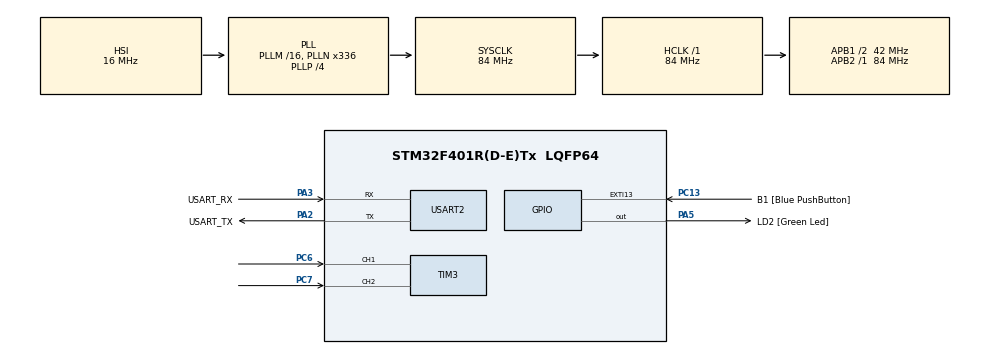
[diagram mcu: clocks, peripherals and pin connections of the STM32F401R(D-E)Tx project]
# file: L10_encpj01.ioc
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Dma.Request0=USART2_TX
Dma.USART2_TX.0.Direction=DMA_MEMORY_TO_PERIPH
Dma.USART2_TX.0.FIFOMode=DMA_FIFOMODE_DISABLE
Dma.USART2_TX.0.Instance=DMA1_Stream6
Dma.USART2_TX.0.MemDataAlignment=DMA_MDATAALIGN_BYTE
Dma.USART2_TX.0.MemInc=DMA_MINC_ENABLE
Dma.USART2_TX.0.Mode=DMA_NORMAL
Dma.USART2_TX.0.PeriphDataAlignment=DMA_PDATAALIGN_BYTE
Dma.USART2_TX.0.PeriphInc=DMA_PINC_DISABLE
Dma.USART2_TX.0.Priority=DMA_PRIORITY_HIGH
Mcu.Family=STM32F4
Mcu.Name=STM32F401R(D-E)Tx
Mcu.Package=LQFP64
NVIC.DMA1_Stream6_IRQn=true\:0\:0\:false\:false\:true\:false\:true\:true
NVIC.PriorityGroup=NVIC_PRIORITYGROUP_0
NVIC.TIM2_IRQn=true\:0\:0\:false\:false\:true\:true\:true\:true
NVIC.USART2_IRQn=true\:0\:0\:false\:false\:true\:true\:true\:true
PA13.GPIO_Label=TMS
PA13.Mode=Serial_Wire
PA13.Signal=SYS_JTMS-SWDIO
PA14.GPIO_Label=TCK
PA14.Mode=Serial_Wire
PA14.Signal=SYS_JTCK-SWCLK
PA2.GPIO_Label=USART_TX
PA2.GPIO_Mode=GPIO_MODE_AF_PP
PA2.GPIO_PuPd=GPIO_NOPULL
PA2.GPIO_Speed=GPIO_SPEED_FREQ_LOW
PA2.Mode=Asynchronous
PA2.Signal=USART2_TX
PA3.GPIO_Label=USART_RX
PA3.GPIO_Mode=GPIO_MODE_AF_PP
PA3.GPIO_PuPd=GPIO_NOPULL
PA3.GPIO_Speed=GPIO_SPEED_FREQ_LOW
PA3.Mode=Asynchronous
PA3.Signal=USART2_RX
PA5.GPIO_Label=LD2 [Green Led]
PA5.GPIO_Mode=GPIO_MODE_OUTPUT_PP
PA5.GPIO_PuPd=GPIO_NOPULL
PA5.GPIO_Speed=GPIO_SPEED_FREQ_LOW
PA5.Signal=GPIO_Output
PB3.GPIO_Label=SWO
PB3.Signal=SYS_JTDO-SWO
PC13-ANTI_TAMP.GPIO_Label=B1 [Blue PushButton]
PC13-ANTI_TAMP.GPIO_ModeDefaultEXTI=GPIO_MODE_IT_FALLING
PC13-ANTI_TAMP.GPIO_PuPd=GPIO_NOPULL
PC13-ANTI_TAMP.Signal=GPXTI13
PC14-OSC32_IN.Mode=LSE-External-Oscillator
PC14-OSC32_IN.Signal=RCC_OSC32_IN
PC15-OSC32_OUT.Mode=LSE-External-Oscillator
PC15-OSC32_OUT.Signal=RCC_OSC32_OUT
PC6.Signal=S_TIM3_CH1
PC7.Signal=S_TIM3_CH2
PH0\ -\ OSC_IN.Mode=HSE-External-Clock-Source
PH0\ -\ OSC_IN.Signal=RCC_OSC_IN
PH1\ -\ OSC_OUT.Mode=HSE-External-Clock-Source
PH1\ -\ OSC_OUT.Signal=RCC_OSC_OUT
ProjectManager.HeapSize=0x200
ProjectManager.StackSize=0x400
ProjectManager.TargetToolchain=STM32CubeIDE
RCC.48MHZClocksFreq_Value=48000000
RCC.AHBFreq_Value=84000000
RCC.APB1CLKDivider=RCC_HCLK_DIV2
RCC.APB1Freq_Value=42000000
RCC.APB1TimFreq_Value=84000000
RCC.APB2Freq_Value=84000000
RCC.APB2TimFreq_Value=84000000
RCC.CortexFreq_Value=84000000
RCC.HCLKFreq_Value=84000000
RCC.HSE_VALUE=8000000
RCC.HSI_VALUE=16000000
RCC.PLLN=336
RCC.PLLP=RCC_PLLP_DIV4
RCC.PLLQ=7
RCC.SYSCLKFreq_VALUE=84000000
RCC.SYSCLKSource=RCC_SYSCLKSOURCE_PLLCLK
RCC.VCOOutputFreq_Value=336000000
SH.S_TIM3_CH1.0=TIM3_CH1,Encoder_Interface
SH.S_TIM3_CH2.0=TIM3_CH2,Encoder_Interface
TIM2.Period=8399
TIM2.Prescaler=9999
TIM3.ClockDivision=TIM_CLOCKDIVISION_DIV4
TIM3.EncoderMode=TIM_ENCODERMODE_TI12
TIM3.IC1Filter=15
TIM3.IC1Polarity=TIM_ICPOLARITY_FALLING
TIM3.IC2Filter=15
USART2.VirtualMode=VM_ASYNC
VP_TIM2_VS_ClockSourceINT.Mode=Internal
board=NUCLEO-F401RE

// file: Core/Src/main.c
/* USER CODE BEGIN Header */
/**
  ******************************************************************************
  * @file           : main.c
  * @brief          : Main program body
  ******************************************************************************
  * @attention
  *
  * Copyright (c) 2024 STMicroelectronics.
  * All rights reserved.
  *
  * This software is licensed under terms that can be found in the LICENSE file
  * in the root directory of this software component.
  * If no LICENSE file comes with this software, it is provided AS-IS.
  *
  ******************************************************************************
  */
/* USER CODE END Header */
#include "main.h"

TIM_HandleTypeDef htim2;
TIM_HandleTypeDef htim3;

UART_HandleTypeDef huart2;
DMA_HandleTypeDef hdma_usart2_tx;

void SystemClock_Config(void);
static void MX_GPIO_Init(void);
static void MX_DMA_Init(void);
static void MX_USART2_UART_Init(void);
static void MX_TIM3_Init(void);
static void MX_TIM2_Init(void);

int main(void)
{

  /* MCU Configuration--------------------------------------------------------*/

  /* Reset of all peripherals, Initializes the Flash interface and the Systick. */
  HAL_Init();

  /* Configure the system clock */
  SystemClock_Config();

  /* Initialize all configured peripherals */
  MX_GPIO_Init();
  MX_DMA_Init();
  MX_USART2_UART_Init();
  MX_TIM3_Init();
  MX_TIM2_Init();
  /* USER CODE BEGIN 2 */
  HAL_TIM_Base_Start_IT(&htim2);
  HAL_TIM_Encoder_Start(&htim3, TIM_CHANNEL_ALL);

  /* USER CODE END 2 */

  /* Infinite loop */
  while (1)
  {

  }
}

void SystemClock_Config(void)
{
  RCC_OscInitTypeDef RCC_OscInitStruct = {0};
  RCC_ClkInitTypeDef RCC_ClkInitStruct = {0};

  /** Configure the main internal regulator output voltage
  */
  __HAL_RCC_PWR_CLK_ENABLE();
  __HAL_PWR_VOLTAGESCALING_CONFIG(PWR_REGULATOR_VOLTAGE_SCALE2);

  /** Initializes the RCC Oscillators according to the specified parameters
  * in the RCC_OscInitTypeDef structure.
  */
  RCC_OscInitStruct.OscillatorType = RCC_OSCILLATORTYPE_HSI;
  RCC_OscInitStruct.HSIState = RCC_HSI_ON;
  RCC_OscInitStruct.HSICalibrationValue = RCC_HSICALIBRATION_DEFAULT;
  RCC_OscInitStruct.PLL.PLLState = RCC_PLL_ON;
  RCC_OscInitStruct.PLL.PLLSource = RCC_PLLSOURCE_HSI;
  RCC_OscInitStruct.PLL.PLLM = 16;
  RCC_OscInitStruct.PLL.PLLN = 336;
  RCC_OscInitStruct.PLL.PLLP = RCC_PLLP_DIV4;
  RCC_OscInitStruct.PLL.PLLQ = 7;
  if (HAL_RCC_OscConfig(&RCC_OscInitStruct) != HAL_OK)
  {
    Error_Handler();
  }

  /** Initializes the CPU, AHB and APB buses clocks
  */
  RCC_ClkInitStruct.ClockType = RCC_CLOCKTYPE_HCLK|RCC_CLOCKTYPE_SYSCLK
                              |RCC_CLOCKTYPE_PCLK1|RCC_CLOCKTYPE_PCLK2;
  RCC_ClkInitStruct.SYSCLKSource = RCC_SYSCLKSOURCE_PLLCLK;
  RCC_ClkInitStruct.AHBCLKDivider = RCC_SYSCLK_DIV1;
  RCC_ClkInitStruct.APB1CLKDivider = RCC_HCLK_DIV2;
  RCC_ClkInitStruct.APB2CLKDivider = RCC_HCLK_DIV1;

  if (HAL_RCC_ClockConfig(&RCC_ClkInitStruct, FLASH_LATENCY_2) != HAL_OK)
  {
    Error_Handler();
  }
}

static void MX_TIM2_Init(void)
{

  TIM_ClockConfigTypeDef sClockSourceConfig = {0};
  TIM_MasterConfigTypeDef sMasterConfig = {0};

  htim2.Instance = TIM2;
  htim2.Init.Prescaler = 9999;
  htim2.Init.CounterMode = TIM_COUNTERMODE_UP;
  htim2.Init.Period = 8399;
  htim2.Init.ClockDivision = TIM_CLOCKDIVISION_DIV1;
  htim2.Init.AutoReloadPreload = TIM_AUTORELOAD_PRELOAD_DISABLE;
  if (HAL_TIM_Base_Init(&htim2) != HAL_OK)
  {
    Error_Handler();
  }
  sClockSourceConfig.ClockSource = TIM_CLOCKSOURCE_INTERNAL;
  if (HAL_TIM_ConfigClockSource(&htim2, &sClockSourceConfig) != HAL_OK)
  {
    Error_Handler();
  }
  sMasterConfig.MasterOutputTrigger = TIM_TRGO_RESET;
  sMasterConfig.MasterSlaveMode = TIM_MASTERSLAVEMODE_DISABLE;
  if (HAL_TIMEx_MasterConfigSynchronization(&htim2, &sMasterConfig) != HAL_OK)
  {
    Error_Handler();
  }

}

static void MX_TIM3_Init(void)
{

  TIM_Encoder_InitTypeDef sConfig = {0};
  TIM_MasterConfigTypeDef sMasterConfig = {0};

  htim3.Instance = TIM3;
  htim3.Init.Prescaler = 0;
  htim3.Init.CounterMode = TIM_COUNTERMODE_UP;
  htim3.Init.Period = 65535;
  htim3.Init.ClockDivision = TIM_CLOCKDIVISION_DIV4;
  htim3.Init.AutoReloadPreload = TIM_AUTORELOAD_PRELOAD_DISABLE;
  sConfig.EncoderMode = TIM_ENCODERMODE_TI12;
  sConfig.IC1Polarity = TIM_ICPOLARITY_FALLING;
  sConfig.IC1Selection = TIM_ICSELECTION_DIRECTTI;
  sConfig.IC1Prescaler = TIM_ICPSC_DIV1;
  sConfig.IC1Filter = 15;
  sConfig.IC2Polarity = TIM_ICPOLARITY_RISING;
  sConfig.IC2Selection = TIM_ICSELECTION_DIRECTTI;
  sConfig.IC2Prescaler = TIM_ICPSC_DIV1;
  sConfig.IC2Filter = 15;
  if (HAL_TIM_Encoder_Init(&htim3, &sConfig) != HAL_OK)
  {
    Error_Handler();
  }
  sMasterConfig.MasterOutputTrigger = TIM_TRGO_RESET;
  sMasterConfig.MasterSlaveMode = TIM_MASTERSLAVEMODE_DISABLE;
  if (HAL_TIMEx_MasterConfigSynchronization(&htim3, &sMasterConfig) != HAL_OK)
  {
    Error_Handler();
  }

}

static void MX_USART2_UART_Init(void)
{

  huart2.Instance = USART2;
  huart2.Init.BaudRate = 115200;
  huart2.Init.WordLength = UART_WORDLENGTH_8B;
  huart2.Init.StopBits = UART_STOPBITS_1;
  huart2.Init.Parity = UART_PARITY_NONE;
  huart2.Init.Mode = UART_MODE_TX_RX;
  huart2.Init.HwFlowCtl = UART_HWCONTROL_NONE;
  huart2.Init.OverSampling = UART_OVERSAMPLING_16;
  if (HAL_UART_Init(&huart2) != HAL_OK)
  {
    Error_Handler();
  }

}

static void MX_DMA_Init(void)
{

  /* DMA controller clock enable */
  __HAL_RCC_DMA1_CLK_ENABLE();

  /* DMA interrupt init */
  /* DMA1_Stream6_IRQn interrupt configuration */
  HAL_NVIC_SetPriority(DMA1_Stream6_IRQn, 0, 0);
  HAL_NVIC_EnableIRQ(DMA1_Stream6_IRQn);

}

static void MX_GPIO_Init(void)
{
  GPIO_InitTypeDef GPIO_InitStruct = {0};

  /* GPIO Ports Clock Enable */
  __HAL_RCC_GPIOC_CLK_ENABLE();
  __HAL_RCC_GPIOH_CLK_ENABLE();
  __HAL_RCC_GPIOA_CLK_ENABLE();
  __HAL_RCC_GPIOB_CLK_ENABLE();

  /*Configure GPIO pin Output Level */
  HAL_GPIO_WritePin(LD2_GPIO_Port, LD2_Pin, GPIO_PIN_RESET);

  /*Configure GPIO pin : B1_Pin */
  GPIO_InitStruct.Pin = B1_Pin;
  GPIO_InitStruct.Mode = GPIO_MODE_IT_FALLING;
  GPIO_InitStruct.Pull = GPIO_NOPULL;
  HAL_GPIO_Init(B1_GPIO_Port, &GPIO_InitStruct);

  /*Configure GPIO pin : LD2_Pin */
  GPIO_InitStruct.Pin = LD2_Pin;
  GPIO_InitStruct.Mode = GPIO_MODE_OUTPUT_PP;
  GPIO_InitStruct.Pull = GPIO_NOPULL;
  GPIO_InitStruct.Speed = GPIO_SPEED_FREQ_LOW;
  HAL_GPIO_Init(LD2_GPIO_Port, &GPIO_InitStruct);

}

/* USER CODE BEGIN 4 */
uint16_t old;
uint16_t new = 0;
char message[100];

void HAL_TIM_PeriodElapsedCallback(TIM_HandleTypeDef *htim) {
	if (htim != &htim2)
		return;

	old = new;
	new = (uint16_t) __HAL_TIM_GET_COUNTER(&htim3);
	uint8_t expectNegative = __HAL_TIM_IS_TIM_COUNTING_DOWN(&htim3);

	int32_t variation = (new - old);
	if (variation < 0 && !expectNegative) {
		variation = 0xFFFF + variation + 1;
	} else if (variation > 0 && expectNegative) {
		variation = variation - 0xFFFF - 1;
	}

	float rotation = variation * (60 / 48.0);
	int length = snprintf(message, 100, "Speed: %f rpm (%d -> %d)\r\n", rotation, old, new);
	HAL_UART_Transmit_DMA(&huart2, message, strlen(message));

}

/* USER CODE END 4 */

void Error_Handler(void)
{
  __disable_irq();
  while (1)
  {
  }
}
